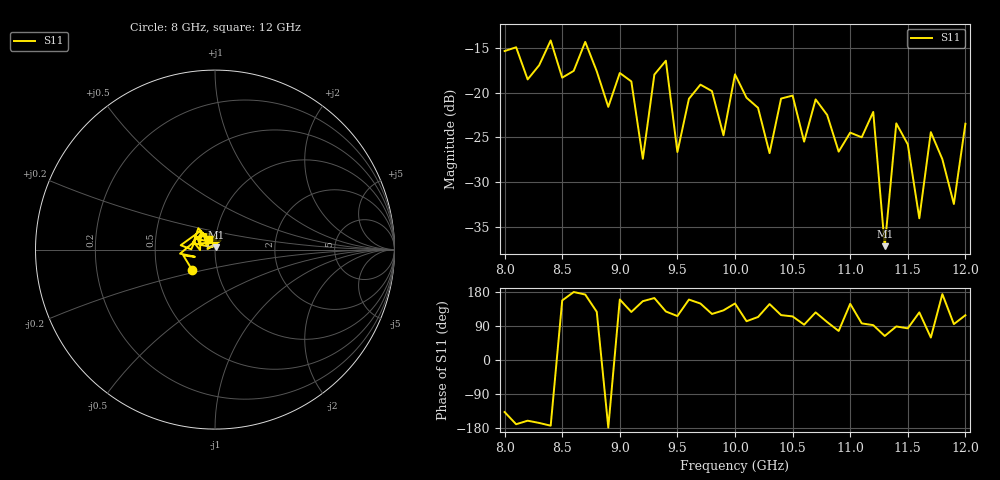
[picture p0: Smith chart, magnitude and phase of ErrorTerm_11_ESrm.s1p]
!  1-Port S-parameters saved by WinCal
! VAR NAME=2-Port SOLT labuser 2
! VAR Error Term Name=ESrm phys rcv port 1 phys src port 1
# Hz S RI R 50
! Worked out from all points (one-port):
!   41 points, 8 GHz to 12 GHz, reference 50 ohm
!   lowest |S11| = -37.2 dB at 11.3 GHz (marker M1), VSWR 1.03, Z = 50.6 + j1.26 ohm
!   |S11| at or under -10 dB: start of sweep to end of sweep
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8e9  -0.1256 -0.1158
8.2e9  -0.1116 -0.0403
8.4e9  -0.1945 -0.0227
8.5e9  -0.1117 0.0472
8.7e9  -0.1908 0.0243
8.9e9  -0.0833 -0.00264
9e9  -0.1208 0.0448
9.1e9  -0.0692 0.0926
9.2e9  -0.0388 0.0179
9.3e9  -0.121 0.0359
9.4e9  -0.093 0.1189
9.5e9  -0.0204 0.0419
9.7e9  -0.0951 0.0571
9.9e9  -0.0379 0.0436
1e10  -0.1087 0.0649
1.03e10  -0.0388 0.0246
1.05e10  -0.0407 0.0873
1.06e10  -0.00297 0.0532
1.07e10  -0.0535 0.0745
1.1e10  -0.0509 0.0315
1.12e10  -0.00266 0.078
1.13e10  0.00621 0.0124
1.14e10  0.00176 0.0674
1.15e10  0.00579 0.0511
1.16e10  -0.0116 0.0161
1.17e10  0.0308 0.0517
1.19e10  -0.00195 0.0238
1.2e10  -0.0316 0.0591
